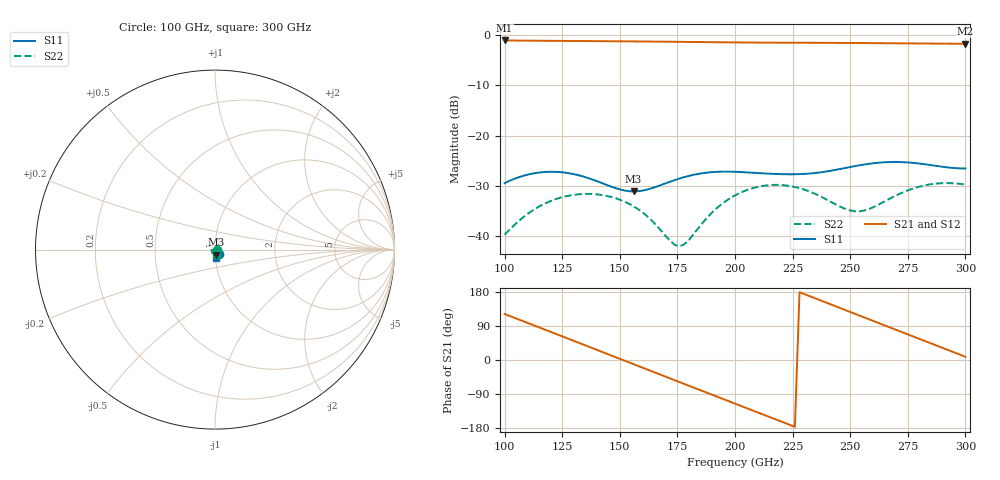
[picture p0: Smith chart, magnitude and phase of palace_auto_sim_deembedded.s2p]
! Created with skrf 1.11.0 (http://scikit-rf.org).
# GHz S DB R 50.0
!freq dBS11 angS11 dBS21 angS21 dBS12 angS12 dBS22 angS22
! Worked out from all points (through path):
!   101 points, 100 GHz to 300 GHz, reference 50 ohm
!   highest |S21| = -1.06 dB at 100 GHz (marker M1); lowest = -1.7 dB at 300 GHz (marker M2)
!   group delay of S21, straight-line fit = 6.57 ps
!   lowest |S11| = -31.1 dB at 156 GHz (marker M3), VSWR 1.06, Z = 50.4 - j2.78 ohm
!   |S11| at or under -10 dB: start of sweep to end of sweep
!   |S22| runs from -42.0 to -29.4 dB; largest |S21 - S12| = 1.4e-13
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100  -29.43 -47.5  -1.06 121.3  -1.06 121.3  -39.66 -10.3
108  -27.98 -56.4  -1.09 102.5  -1.09 102.5  -36.23 -7.7
116  -27.26 -66.8  -1.12 83.6  -1.12 83.6  -33.81 -15.4
124  -27.22 -77.1  -1.14 64.7  -1.14 64.7  -32.34 -27.7
134  -28.09 -87.3  -1.17 41.1  -1.17 41.1  -31.58 -46.5
146  -30.07 -89.8  -1.21 12.6  -1.21 12.6  -32.13 -73.1
156  -31.07 -79.8  -1.25 -11.1  -1.25 -11.1  -34.03 -100.1
168  -29.78 -68.3  -1.30 -39.5  -1.30 -39.5  -38.91 -148.9
174  -28.79 -67.7  -1.32 -53.7  -1.32 -53.7  -41.72 164.8
178  -28.22 -68.8  -1.34 -63.2  -1.34 -63.2  -41.57 124.8
188  -27.32 -74.1  -1.39 -86.9  -1.39 -86.9  -36.23 57.6
200  -27.17 -80.2  -1.44 -115.2  -1.44 -115.2  -31.85 12.4
218  -27.60 -81.9  -1.50 -157.5  -1.50 -157.5  -29.76 -46.7
226  -27.65 -80.2  -1.51 -176.4  -1.51 -176.4  -30.19 -74.7
234  -27.45 -77.5  -1.52 164.7  -1.52 164.7  -31.39 -105.9
242  -26.92 -75.4  -1.54 145.7  -1.54 145.7  -33.23 -143.4
252  -26.04 -75.7  -1.57 122.0  -1.57 122.0  -35.01 155.2
260  -25.47 -78.5  -1.59 103.1  -1.59 103.1  -34.21 102.5
268  -25.22 -82.3  -1.62 84.1  -1.62 84.1  -32.31 59.7
282  -25.64 -87.4  -1.66 51.0  -1.66 51.0  -29.90 1.6
292  -26.28 -86.3  -1.70 27.4  -1.70 27.4  -29.41 -35.7
300  -26.49 -81.9  -1.72 8.6  -1.72 8.6  -29.72 -66.2
